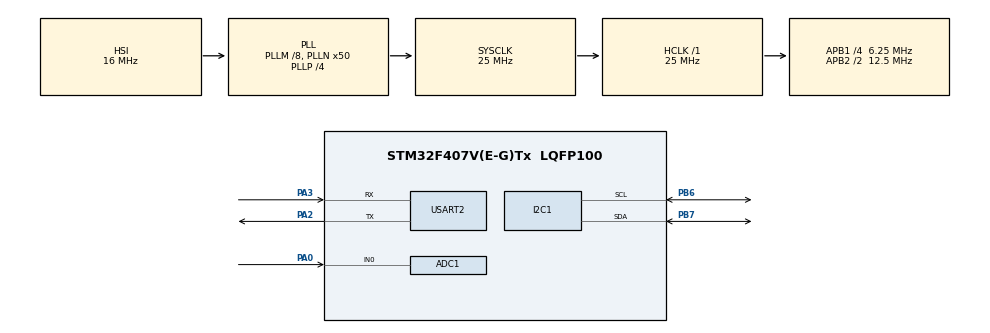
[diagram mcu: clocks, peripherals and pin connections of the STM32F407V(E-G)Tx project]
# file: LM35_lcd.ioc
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ADC1.Channel-0\#ChannelRegularConversion=ADC_CHANNEL_0
ADC1.NbrOfConversionFlag=1
ADC1.Rank-0\#ChannelRegularConversion=1
ADC1.SamplingTime-0\#ChannelRegularConversion=ADC_SAMPLETIME_3CYCLES
ADC1.master=1
Mcu.Family=STM32F4
Mcu.Name=STM32F407V(E-G)Tx
Mcu.Package=LQFP100
NVIC.PriorityGroup=NVIC_PRIORITYGROUP_0
PA0-WKUP.Signal=ADCx_IN0
PA2.Mode=Asynchronous
PA2.Signal=USART2_TX
PA3.Mode=Asynchronous
PA3.Signal=USART2_RX
PB6.Mode=I2C
PB6.Signal=I2C1_SCL
PB7.Mode=I2C
PB7.Signal=I2C1_SDA
ProjectManager.HeapSize=0x200
ProjectManager.StackSize=0x400
ProjectManager.TargetToolchain=STM32CubeIDE
RCC.48MHZClocksFreq_Value=14285714.285714285
RCC.AHBFreq_Value=25000000
RCC.APB1CLKDivider=RCC_HCLK_DIV4
RCC.APB1Freq_Value=6250000
RCC.APB1TimFreq_Value=12500000
RCC.APB2CLKDivider=RCC_HCLK_DIV2
RCC.APB2Freq_Value=12500000
RCC.APB2TimFreq_Value=25000000
RCC.CortexFreq_Value=25000000
RCC.HCLKFreq_Value=25000000
RCC.HSE_VALUE=8000000
RCC.HSI_VALUE=16000000
RCC.LSE_VALUE=32768
RCC.PLLM=8
RCC.PLLN=50
RCC.PLLP=RCC_PLLP_DIV4
RCC.PLLQ=7
RCC.SYSCLKFreq_VALUE=25000000
RCC.SYSCLKSource=RCC_SYSCLKSOURCE_PLLCLK
RCC.VCOOutputFreq_Value=100000000
SH.ADCx_IN0.0=ADC1_IN0,IN0
USART2.VirtualMode=VM_ASYNC
board=STM32F407G-DISC1

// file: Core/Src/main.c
/* USER CODE BEGIN Header */
/**
  ******************************************************************************
  * @file           : main.c
  * @brief          : Main program body
  ******************************************************************************
  * @attention
  *
  * Copyright (c) 2025 STMicroelectronics.
  * All rights reserved.
  *
  * This software is licensed under terms that can be found in the LICENSE file
  * in the root directory of this software component.
  * If no LICENSE file comes with this software, it is provided AS-IS.
  *
  ******************************************************************************
  */
/* USER CODE END Header */
#include "main.h"
#include"my_lcd.h"
#include<stdio.h>
#include<string.h>

ADC_HandleTypeDef hadc1;

I2C_HandleTypeDef hi2c1;

UART_HandleTypeDef huart2;

void SystemClock_Config(void);
static void MX_GPIO_Init(void);
static void MX_ADC1_Init(void);
static void MX_I2C1_Init(void);
static void MX_USART2_UART_Init(void);

int main(void)
{

  /* MCU Configuration--------------------------------------------------------*/

  /* Reset of all peripherals, Initializes the Flash interface and the Systick. */
  HAL_Init();

  /* Configure the system clock */
  SystemClock_Config();

  /* Initialize all configured peripherals */
  MX_GPIO_Init();
  MX_ADC1_Init();
  MX_I2C1_Init();
  MX_USART2_UART_Init();
  /* USER CODE BEGIN 2 */
  if(!lcd16x2_i2c_init(&hi2c1))
  {
	  while(1);
  }

  lcd16x2_i2c_clear();

  //Print on 1st line
  lcd16x2_i2c_setCursor(0, 0);
  lcd16x2_i2c_printf("LM35 Temperature");

  /* USER CODE END 2 */

  /* Infinite loop */
  /* USER CODE BEGIN WHILE */
  char str[20];
   int val;
   float temp;
  while (1)
  {
    /* USER CODE END WHILE */

    /* USER CODE BEGIN 3 */
	  HAL_ADC_Start(&hadc1);
	  HAL_ADC_PollForConversion(&hadc1, HAL_MAX_DELAY);
	  val = HAL_ADC_GetValue(&hadc1);
	  temp = ((val * 3.3) * 100)/4095;
	  HAL_ADC_Stop(&hadc1);
	  sprintf(str , "Temp: %f \r\n",temp);
	  HAL_UART_Transmit(&huart2, (uint8_t *)str, strlen(str), HAL_MAX_DELAY);
	  HAL_Delay(1000);

	  lcd16x2_i2c_setCursor(1, 0);
	  lcd16x2_i2c_printf(str);

  }
  /* USER CODE END 3 */
}

void SystemClock_Config(void)
{
  RCC_OscInitTypeDef RCC_OscInitStruct = {0};
  RCC_ClkInitTypeDef RCC_ClkInitStruct = {0};

  /** Configure the main internal regulator output voltage
  */
  __HAL_RCC_PWR_CLK_ENABLE();
  __HAL_PWR_VOLTAGESCALING_CONFIG(PWR_REGULATOR_VOLTAGE_SCALE1);

  /** Initializes the RCC Oscillators according to the specified parameters
  * in the RCC_OscInitTypeDef structure.
  */
  RCC_OscInitStruct.OscillatorType = RCC_OSCILLATORTYPE_HSI;
  RCC_OscInitStruct.HSIState = RCC_HSI_ON;
  RCC_OscInitStruct.HSICalibrationValue = RCC_HSICALIBRATION_DEFAULT;
  RCC_OscInitStruct.PLL.PLLState = RCC_PLL_ON;
  RCC_OscInitStruct.PLL.PLLSource = RCC_PLLSOURCE_HSI;
  RCC_OscInitStruct.PLL.PLLM = 8;
  RCC_OscInitStruct.PLL.PLLN = 50;
  RCC_OscInitStruct.PLL.PLLP = RCC_PLLP_DIV4;
  RCC_OscInitStruct.PLL.PLLQ = 7;
  if (HAL_RCC_OscConfig(&RCC_OscInitStruct) != HAL_OK)
  {
    Error_Handler();
  }

  /** Initializes the CPU, AHB and APB buses clocks
  */
  RCC_ClkInitStruct.ClockType = RCC_CLOCKTYPE_HCLK|RCC_CLOCKTYPE_SYSCLK
                              |RCC_CLOCKTYPE_PCLK1|RCC_CLOCKTYPE_PCLK2;
  RCC_ClkInitStruct.SYSCLKSource = RCC_SYSCLKSOURCE_PLLCLK;
  RCC_ClkInitStruct.AHBCLKDivider = RCC_SYSCLK_DIV1;
  RCC_ClkInitStruct.APB1CLKDivider = RCC_HCLK_DIV4;
  RCC_ClkInitStruct.APB2CLKDivider = RCC_HCLK_DIV2;

  if (HAL_RCC_ClockConfig(&RCC_ClkInitStruct, FLASH_LATENCY_0) != HAL_OK)
  {
    Error_Handler();
  }
}

static void MX_ADC1_Init(void)
{

  ADC_ChannelConfTypeDef sConfig = {0};

  /** Configure the global features of the ADC (Clock, Resolution, Data Alignment and number of conversion)
  */
  hadc1.Instance = ADC1;
  hadc1.Init.ClockPrescaler = ADC_CLOCK_SYNC_PCLK_DIV2;
  hadc1.Init.Resolution = ADC_RESOLUTION_12B;
  hadc1.Init.ScanConvMode = DISABLE;
  hadc1.Init.ContinuousConvMode = DISABLE;
  hadc1.Init.DiscontinuousConvMode = DISABLE;
  hadc1.Init.ExternalTrigConvEdge = ADC_EXTERNALTRIGCONVEDGE_NONE;
  hadc1.Init.ExternalTrigConv = ADC_SOFTWARE_START;
  hadc1.Init.DataAlign = ADC_DATAALIGN_RIGHT;
  hadc1.Init.NbrOfConversion = 1;
  hadc1.Init.DMAContinuousRequests = DISABLE;
  hadc1.Init.EOCSelection = ADC_EOC_SINGLE_CONV;
  if (HAL_ADC_Init(&hadc1) != HAL_OK)
  {
    Error_Handler();
  }

  /** Configure for the selected ADC regular channel its corresponding rank in the sequencer and its sample time.
  */
  sConfig.Channel = ADC_CHANNEL_0;
  sConfig.Rank = 1;
  sConfig.SamplingTime = ADC_SAMPLETIME_3CYCLES;
  if (HAL_ADC_ConfigChannel(&hadc1, &sConfig) != HAL_OK)
  {
    Error_Handler();
  }

}

static void MX_I2C1_Init(void)
{

  hi2c1.Instance = I2C1;
  hi2c1.Init.ClockSpeed = 100000;
  hi2c1.Init.DutyCycle = I2C_DUTYCYCLE_2;
  hi2c1.Init.OwnAddress1 = 0;
  hi2c1.Init.AddressingMode = I2C_ADDRESSINGMODE_7BIT;
  hi2c1.Init.DualAddressMode = I2C_DUALADDRESS_DISABLE;
  hi2c1.Init.OwnAddress2 = 0;
  hi2c1.Init.GeneralCallMode = I2C_GENERALCALL_DISABLE;
  hi2c1.Init.NoStretchMode = I2C_NOSTRETCH_DISABLE;
  if (HAL_I2C_Init(&hi2c1) != HAL_OK)
  {
    Error_Handler();
  }

}

static void MX_USART2_UART_Init(void)
{

  huart2.Instance = USART2;
  huart2.Init.BaudRate = 115200;
  huart2.Init.WordLength = UART_WORDLENGTH_8B;
  huart2.Init.StopBits = UART_STOPBITS_1;
  huart2.Init.Parity = UART_PARITY_NONE;
  huart2.Init.Mode = UART_MODE_TX_RX;
  huart2.Init.HwFlowCtl = UART_HWCONTROL_NONE;
  huart2.Init.OverSampling = UART_OVERSAMPLING_16;
  if (HAL_UART_Init(&huart2) != HAL_OK)
  {
    Error_Handler();
  }

}

static void MX_GPIO_Init(void)
{

  /* GPIO Ports Clock Enable */
  __HAL_RCC_GPIOA_CLK_ENABLE();
  __HAL_RCC_GPIOB_CLK_ENABLE();

}

void Error_Handler(void)
{
  __disable_irq();
  while (1)
  {
  }
}
